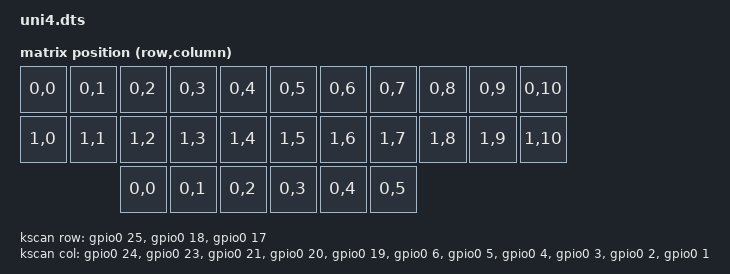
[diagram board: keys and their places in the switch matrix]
/*
 * Copyright (c) 2021 Yonatan Schachter
 *
 * SPDX-License-Identifier: Apache-2.0
 */

/dts-v1/;

#include <dt-bindings/zmk/matrix_transform.h>
#include <rpi_pico/rp2040.dtsi>
#include "uni4-pinctrl.dtsi"

/ {
	chosen {
		zephyr,sram = &sram0;
		zephyr,flash = &flash0;
		zephyr,console = &uart0;
		zephyr,shell-uart = &uart0;
		zephyr,code-partition = &code_partition;
        zmk,matrix_transform = &transform;
        zmk,kscan = &kscan;
	};

    xtal_clk: xtal-clk {
        compatible = "fixed-clock";
        clock-frequency = <12000000>;
        #clock-cells = <0>;
    };

    transform: transform {
        compatible = "zmk,matrix-transform";
        columns = <11>;
        rows = <3>;
        map = <
RC(0,0) RC(0,1) RC(0,2) RC(0,3) RC(0,4) RC(0,5) RC(0,6) RC(0,7) RC(0,8) RC(0,9) RC(0,10)
RC(1,0) RC(1,1) RC(1,2) RC(1,3) RC(1,4) RC(1,5) RC(1,6) RC(1,7) RC(1,8) RC(1,9) RC(1,10)
                RC(0,0) RC(0,1) RC(0,2) RC(0,3) RC(0,4) RC(0,5)
        >;
    };

    kscan: kscan0 {
        compatible = "zmk,kscan-gpio-matrix";
        diode-direction = "col2row";
        row-gpios
            = <&gpio0 25 (GPIO_ACTIVE_HIGH | GPIO_PULL_DOWN)>
            , <&gpio0 18 (GPIO_ACTIVE_HIGH | GPIO_PULL_DOWN)>
            , <&gpio0 17 (GPIO_ACTIVE_HIGH | GPIO_PULL_DOWN)>
            ;
        col-gpios
            = <&gpio0 24 GPIO_ACTIVE_HIGH>
            , <&gpio0 23 GPIO_ACTIVE_HIGH>
            , <&gpio0 21 GPIO_ACTIVE_HIGH>
            , <&gpio0 20 GPIO_ACTIVE_HIGH>
            , <&gpio0 19 GPIO_ACTIVE_HIGH>
            , <&gpio0  6 GPIO_ACTIVE_HIGH>
            , <&gpio0  5 GPIO_ACTIVE_HIGH>
            , <&gpio0  4 GPIO_ACTIVE_HIGH>
            , <&gpio0  3 GPIO_ACTIVE_HIGH>
            , <&gpio0  2 GPIO_ACTIVE_HIGH>
            , <&gpio0  1 GPIO_ACTIVE_HIGH>
            ;
    };
};

&flash0 {
	reg = <0x10000000 DT_SIZE_M(16)>;

	partitions {
		compatible = "fixed-partitions";
		#address-cells = <1>;
		#size-cells = <1>;

		/* Reserved memory for the second stage bootloader */
		second_stage_bootloader: partition@0 {
			label = "second_stage_bootloader";
			reg = <0x00000000 0x100>;
			read-only;
		};

		/*
		 * Usable flash. Starts at 0x100, after the bootloader. The partition
		 * size is 2MB minus the 0x100 bytes taken by the bootloader.
		 */
		code_partition: partition@100 {
			label = "code-partition";
			reg = <0x100 (DT_SIZE_M(1) - 0x100)>;
			read-only;
		};
	};
};

&uart0 {
	current-speed = <115200>;
	status = "okay";
	pinctrl-0 = <&uart0_default>;
	pinctrl-names = "default";
};

&gpio0 {
	status = "okay";
};

&usbd {
    status = "okay";
};
